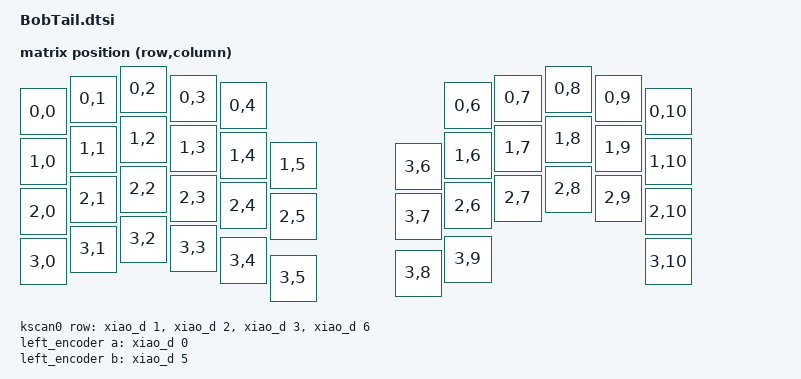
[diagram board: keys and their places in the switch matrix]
#include <dt-bindings/zmk/matrix_transform.h>
#include <physical_layouts.dtsi>

/ {
    chosen {
        zmk,physical-layout = &roba_physical_layout;
    };
    
    roba_physical_layout: roba_physical_layout {
        compatible = "zmk,physical-layout";
        display-name = "BobTailESC";
        transform = <&default_transform>;
        kscan = <&kscan0>;





        /* config/BobTail.json と同じ順序・座標。15 はエンコーダ空席。
           row/col の実配線 (default_transform) とは独立した表示情報。 */
        keys  //                     w   h    x    y     rot    rx    ry
            = <&key_physical_attrs 100 100    0   45       0     0     0>
            , <&key_physical_attrs 100 100  100   20       0     0     0>
            , <&key_physical_attrs 100 100  200    0       0     0     0>
            , <&key_physical_attrs 100 100  300   18       0     0     0>
            , <&key_physical_attrs 100 100  400   33       0     0     0>
            , <&key_physical_attrs 100 100  850   33       0     0     0>
            , <&key_physical_attrs 100 100  950   18       0     0     0>
            , <&key_physical_attrs 100 100 1050    0       0     0     0>
            , <&key_physical_attrs 100 100 1150   18       0     0     0>
            , <&key_physical_attrs 100 100 1250   45       0     0     0>
            , <&key_physical_attrs 100 100    0  145       0     0     0>
            , <&key_physical_attrs 100 100  100  120       0     0     0>
            , <&key_physical_attrs 100 100  200  100       0     0     0>
            , <&key_physical_attrs 100 100  300  118       0     0     0>
            , <&key_physical_attrs 100 100  400  133       0     0     0>
            , <&key_physical_attrs 100 100  500  152       0     0     0>
            , <&key_physical_attrs 100 100  750  155       0     0     0>
            , <&key_physical_attrs 100 100  850  133       0     0     0>
            , <&key_physical_attrs 100 100  950  118       0     0     0>
            , <&key_physical_attrs 100 100 1050  100       0     0     0>
            , <&key_physical_attrs 100 100 1150  118       0     0     0>
            , <&key_physical_attrs 100 100 1250  145       0     0     0>
            , <&key_physical_attrs 100 100    0  245       0     0     0>
            , <&key_physical_attrs 100 100  100  220       0     0     0>
            , <&key_physical_attrs 100 100  200  200       0     0     0>
            , <&key_physical_attrs 100 100  300  218       0     0     0>
            , <&key_physical_attrs 100 100  400  233       0     0     0>
            , <&key_physical_attrs 100 100  500  255       0     0     0>
            , <&key_physical_attrs 100 100  750  255       0     0     0>
            , <&key_physical_attrs 100 100  850  233       0     0     0>
            , <&key_physical_attrs 100 100  950  218       0     0     0>
            , <&key_physical_attrs 100 100 1050  200       0     0     0>
            , <&key_physical_attrs 100 100 1150  218       0     0     0>
            , <&key_physical_attrs 100 100 1250  245       0     0     0>
            , <&key_physical_attrs 100 100    0  345       0     0     0>
            , <&key_physical_attrs 100 100  100  320       0     0     0>
            , <&key_physical_attrs 100 100  200  300       0     0     0>
            , <&key_physical_attrs 100 100  300  318       0     0     0>
            , <&key_physical_attrs 100 100  400  343       0     0     0>
            , <&key_physical_attrs 100 100  500  378       0     0     0>
            , <&key_physical_attrs 100 100  750  368       0     0     0>
            , <&key_physical_attrs 100 100  850  340       0     0     0>
            , <&key_physical_attrs 100 100 1250  345       0     0     0>
            ;
    };

    default_transform: keymap_transform_0 {
        compatible = "zmk,matrix-transform";
        columns = <11>;
        rows = <4>;               
        map = <
            RC(0,0) RC(0,1) RC(0,2) RC(0,3) RC(0,4)                     RC(0,6) RC(0,7) RC(0,8) RC(0,9) RC(0,10)
            RC(1,0) RC(1,1) RC(1,2) RC(1,3) RC(1,4) RC(1,5)     RC(3,6) RC(1,6) RC(1,7) RC(1,8) RC(1,9) RC(1,10)
            RC(2,0) RC(2,1) RC(2,2) RC(2,3) RC(2,4) RC(2,5)     RC(3,7) RC(2,6) RC(2,7) RC(2,8) RC(2,9) RC(2,10)
            RC(3,0) RC(3,1) RC(3,2) RC(3,3) RC(3,4) RC(3,5)     RC(3,8) RC(3,9)                         RC(3,10)         
        >;
    };
    
    kscan0: kscan {
        compatible = "zmk,kscan-gpio-matrix";
        label = "KSCAN";
        diode-direction = "col2row";
            row-gpios
                = <&xiao_d 1 (GPIO_ACTIVE_HIGH | GPIO_PULL_DOWN)> 
                , <&xiao_d 2 (GPIO_ACTIVE_HIGH | GPIO_PULL_DOWN)> 
                , <&xiao_d 3 (GPIO_ACTIVE_HIGH | GPIO_PULL_DOWN)> 
                , <&xiao_d 6 (GPIO_ACTIVE_HIGH | GPIO_PULL_DOWN)> 			
                ;
    };

    left_encoder: encoder_left {
        compatible = "alps,ec11";
        a-gpios = <&xiao_d 0 (GPIO_ACTIVE_HIGH | GPIO_PULL_UP)>;
        b-gpios = <&xiao_d 5 (GPIO_ACTIVE_HIGH | GPIO_PULL_UP)>;
        steps = <24>;
        status = "disabled";
    };

    right_encoder: encoder_right {
        status = "disabled";
    };

    sensors: sensors {
        compatible = "zmk,keymap-sensors";
        sensors = <&left_encoder &right_encoder>;
        triggers-per-rotation = <10>;
    };

    



};
